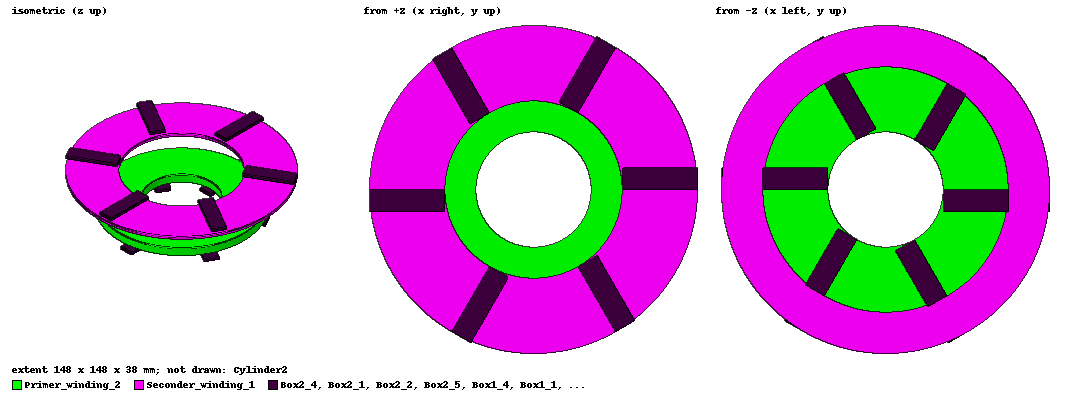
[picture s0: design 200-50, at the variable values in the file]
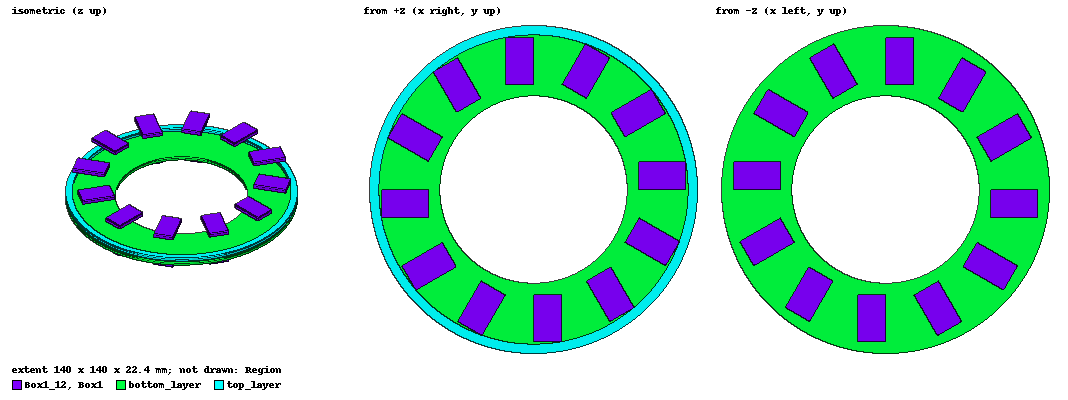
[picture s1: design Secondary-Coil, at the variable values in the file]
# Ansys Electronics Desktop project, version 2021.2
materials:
  vacuum: permittivity=1
  copper: permeability=0.999991 conductivity=58000000
  ferrite: permittivity=12 permeability=1000 conductivity=0.01

design 200-50 (Maxwell 3D, Magnetostatic, model units mm)
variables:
  airgap = 20mm
  r_inner_primer_winding = 26mm
  ch = 2mm
  layer_primer = 3
  Np = 44
  r_outer_primer_winding = r_inner_primer_winding+( (Np/layer_primer)*ch)
  f2p = 4mm
  ferrite_pos_primer = r_inner_primer_winding
  ferrite_length_primer = (Np/layer_primer)*ch
  ferrite_height_primer = 2mm
  ferrite_width_primer = 10mm
  N_ferrite_p = 12
  Ip = 5A
  r_outer_air = 100mm
  height_air = 200mm
  r_inner_seconder_winding = 40mm
  layer_seconder = 1
  Ns = 17
  r_outer_seconder_winding = r_inner_seconder_winding+((Ns/layer_seconder)*ch)
  f2s = 2mm
  ferrite_pos_seconder = r_inner_seconder_winding
  ferrite_width_seconder = ferrite_width_primer
  ferrite_length_seconder = (Ns/layer_seconder)*ch
  ferrite_height_seconder = ferrite_height_primer
  Is = 6A
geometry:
  coordinate_system primer_winding = origin=(0mm, 0mm, -airgap/2) x=(1mm, 0mm, 0mm) y=(0mm, 1mm, 0mm)
  Cylinder1 = cylinder(axis=Z, base_centre=(0mm, 0mm, 0mm), radius=r_inner_primer_winding, height=-ch*layer_primer) in primer_winding
  Primer_winding_2 [copper] = cylinder(axis=Z, base_centre=(0mm, 0mm, 0mm), radius=r_outer_primer_winding, height=-ch*layer_primer) in primer_winding
  Primer_winding_2.subtract(Cylinder1)
  coordinate_system primer_ferrite = origin=(0mm, 0mm, -ch*layer_primer-f2p) x=(1mm, 0mm, 0mm) y=(0mm, 1mm, 0mm) in primer_winding
  Box1 [ferrite] = box(corner=(ferrite_pos_primer, 0mm, 0mm), size=(ferrite_length_primer, ferrite_width_primer, -ferrite_height_primer)) in primer_ferrite
  Box1_1..Box1_5 [ferrite] = Box1.duplicate_around_axis(axis=Z, angle=60deg, total=6) in primer_ferrite
  Primer_current [copper] = Primer_winding_2.section(plane=ZX) in primer_ferrite
  Primer_current.separate_bodies()
  Cylinder2 [vacuum] = cylinder(axis=Z, base_centre=(0mm, 0mm, -height_air/2), radius=r_outer_air, height=height_air)
  coordinate_system Seconder_winding = origin=(0mm, 0mm, airgap/2) x=(1mm, 0mm, 0mm) y=(0mm, 1mm, 0mm)
  Cylinder3 = cylinder(axis=Z, base_centre=(0mm, 0mm, 0mm), radius=r_inner_seconder_winding, height=ch*layer_seconder) in Seconder_winding
  Seconder_winding_1 [copper] = cylinder(axis=Z, base_centre=(0mm, 0mm, 0mm), radius=r_outer_seconder_winding, height=ch*layer_seconder) in Seconder_winding
  Seconder_winding_1.subtract(Cylinder3)
  coordinate_system seconder_ferrite = origin=(0mm, 0mm, ch*layer_seconder+f2s) x=(1mm, 0mm, 0mm) y=(0mm, 1mm, 0mm) in Seconder_winding
  Box2 [ferrite] = box(corner=(ferrite_pos_seconder, 0mm, 0mm), size=(ferrite_length_seconder, ferrite_width_seconder, ferrite_height_seconder)) in seconder_ferrite
  Box2_1..Box2_5 [ferrite] = Box2.duplicate_around_axis(axis=Z, angle=60deg, total=6) in seconder_ferrite
  Seconder_current [copper] = Seconder_winding_1.section(plane=ZX) in Seconder_winding
  Seconder_current.separate_bodies()
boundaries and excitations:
  Insulating_primer: Insulating Objects=Primer_winding_2
  ZeroTangentialHField1: Zero Tangential H Field Faces=Cylinder2.face(all 3)
  Insulating_secondary: Insulating Faces=Seconder_winding_1.face(3 of 3)
  Primer_current: Current Objects=Primer_current Current=Ip IsSolid=false Point_out_of_terminal=false
  Secondary_current: Current Objects=Seconder_current Current=Is IsSolid=false Point_out_of_terminal=false
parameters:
  Matrix1: Matrix Primer_current: NumberOfTurns=Np; Secondary_current: NumberOfTurns=Ns
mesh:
  initial mesh: GlobalCurvilinear{Apply}
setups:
  Setup1: Magnetostatic MaximumPasses=10 MinimumPasses=2 MinimumConvergedPasses=1 PercentRefinement=30 PercentError=1 NonLinearResidual=0.001
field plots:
  B_Vector1: B in Cylinder2 on Setup1 : LastAdaptive
  Mag_B1: B on Setup1 : LastAdaptive

design Secondary-Coil (Maxwell 3D, Magnetostatic, model units mm)
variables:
  r_inner = 40mm
  ch = 2mm
  r_outer = 70mm
  r_inner_2 = 66mm
  r_outer_2 = 70mm
  f2layer = 2mm
  N_bottom = 15
  N_top = 2
  N_top2 = 2
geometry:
  Cylinder1 = cylinder(axis=Z, base_centre=(0mm, 0mm, 0mm), radius=r_inner, height=ch)
  bottom_layer [copper] = cylinder(axis=Z, base_centre=(0mm, 0mm, 0mm), radius=r_outer, height=ch)
  bottom_layer.subtract(Cylinder1)
  coordinate_system layer2 = origin=(0mm, 0mm, (ch+1mm)) x=(1mm, 0mm, 0mm) y=(0mm, 1mm, 0mm)
  Cylinder3 = cylinder(axis=Z, base_centre=(0mm, 0mm, 0mm), radius=r_inner_2, height=ch) in layer2
  top_layer [copper] = cylinder(axis=Z, base_centre=(0mm, 0mm, 0mm), radius=r_outer_2, height=ch) in layer2
  top_layer.subtract(Cylinder3)
  coordinate_system ferrite = origin=(0mm, 0mm, -f2layer) x=(1mm, 0mm, 0mm) y=(0mm, 1mm, 0mm)
  Box1 [ferrite] = box(corner=(45mm, 0mm, 0mm), size=(20mm, 12mm, -2.4mm)) in ferrite
  Box1_1..Box1_11 = Box1.duplicate_around_axis(axis=Z, angle=30deg, total=12) in ferrite
  Box1.unite(Box1_1..Box1_5, Box1_7, Box1_6, Box1_8, Box1_9, Box1_11, Box1_10)
  bottom_layer_Section1 = bottom_layer.section(plane=ZX) in ferrite
  top_layer_Section1 = top_layer.section(plane=ZX) in ferrite
  bottom_layer_Section1_Separate1 [copper] = bottom_layer_Section1.separate_bodies()
  bottom_layer_Section1.delete()
  top_layer_Section1_Separate1 [copper] = top_layer_Section1.separate_bodies()
  top_layer_Section1.delete()
  Region [vacuum] = region(percentage_offset: +X=50, -X=50, +Y=50, -Y=50, +Z=200, -Z=200) in ferrite
  Box1_12 [vacuum] = Box1.duplicate_along_line(step=(0mm, 0mm, 20mm), total=2) in ferrite
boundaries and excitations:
  Insulating1: Insulating Objects=[top_layer, bottom_layer]
  Current_1: Current Objects=bottom_layer_Section1_Separate1 Current=2A IsSolid=false Point_out_of_terminal=false
  Current_2: Current Objects=top_layer_Section1_Separate1 Current=2A IsSolid=false Point_out_of_terminal=false
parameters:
  Matrix1: Matrix Current_1: NumberOfTurns=N_bottom; Current_2: NumberOfTurns=N_top; group Group1 = Current_1, Current_2 (1 parallel)
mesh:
  initial mesh: GlobalCurvilinear{Apply}
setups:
  Setup1: Magnetostatic MaximumPasses=10 MinimumPasses=2 MinimumConvergedPasses=1 PercentRefinement=30 PercentError=1 NonLinearResidual=0.001
